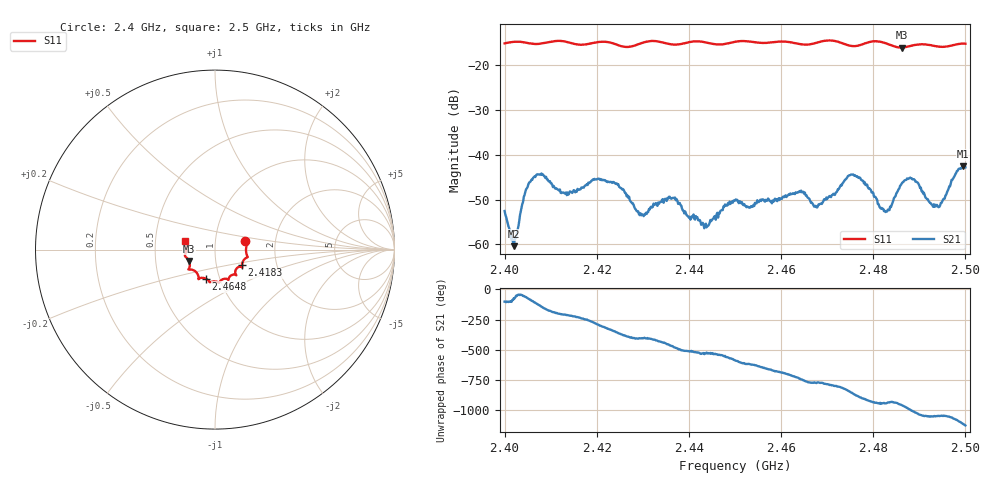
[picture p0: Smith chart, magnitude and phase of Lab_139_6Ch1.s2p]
# Hz S RI R 50
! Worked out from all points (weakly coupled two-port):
!   601 points, 2.4 GHz to 2.5 GHz, reference 50 ohm
!   highest |S21| = -42.56 dB at 2.4995 GHz (marker M1); lowest = -60.4 dB at 2.402 GHz (marker M2)
!   lowest |S11| = -16.1 dB at 2.4862 GHz (marker M3), VSWR 1.37, Z = 37.2 - j4.8 ohm
!   |S11| at or under -10 dB: start of sweep to end of sweep
!   S12 and S22 are empty: the file has one direction only
!   S11 on the Smith chart (normalised r, x): 2.4 GHz: 1.40, +0.13; 2.4183 GHz: 1.33, -0.24; 2.4648 GHz: 0.86, -0.29; 2.5 GHz: 0.71, +0.07
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2.4e9  0.1692 0.0459  -0.000469 -0.00231  0 0  0 0
2.402e9  0.1787 0.0367  0.000287 -0.000911  0 0  0 0
2.404667e9  0.1769 0.0226  0.00177 -0.00373  0 0  0 0
2.406667e9  0.1723 0.00097  -0.0021 -0.00524  0 0  0 0
2.412667e9  0.1804 -0.0429  -0.00336 0.00179  0 0  0 0
2.416667e9  0.1547 -0.068  -0.00214 0.00374  0 0  0 0
2.418333e9  0.1499 -0.087  -0.000976 0.00473  0 0  0 0
2.424167e9  0.1415 -0.0954  0.00471 0.000504  0 0  0 0
2.429667e9  0.1132 -0.1349  0.00148 -0.0015  0 0  0 0
2.433333e9  0.1175 -0.1411  0.00102 -0.00275  0 0  0 0
2.436833e9  0.0917 -0.1429  -0.00167 -0.00281  0 0  0 0
2.443833e9  0.0694 -0.1647  -0.00149 -0.000429  0 0  0 0
2.45e9  0.0252 -0.1806  -0.00207 0.00229  0 0  0 0
2.464833e9  -0.0508 -0.1624  0.00322 -0.00215  0 0  0 0
2.466667e9  -0.0713 -0.1571  0.00174 -0.00235  0 0  0 0
2.4755e9  -0.1054 -0.1251  -0.0047 -0.00379  0 0  0 0
2.483333e9  -0.1414 -0.0962  -0.00193 0.00146  0 0  0 0
2.486167e9  -0.1439 -0.0631  -0.00246 0.00409  0 0  0 0
2.4885e9  -0.1601 -0.0435  0.00154 0.00509  0 0  0 0
2.494e9  -0.1615 -0.00852  0.00227 0.00137  0 0  0 0
2.4995e9  -0.1682 0.0447  0.00603 -0.00436  0 0  0 0
2.5e9  -0.1674 0.0468  0.00488 -0.00536  0 0  0 0
